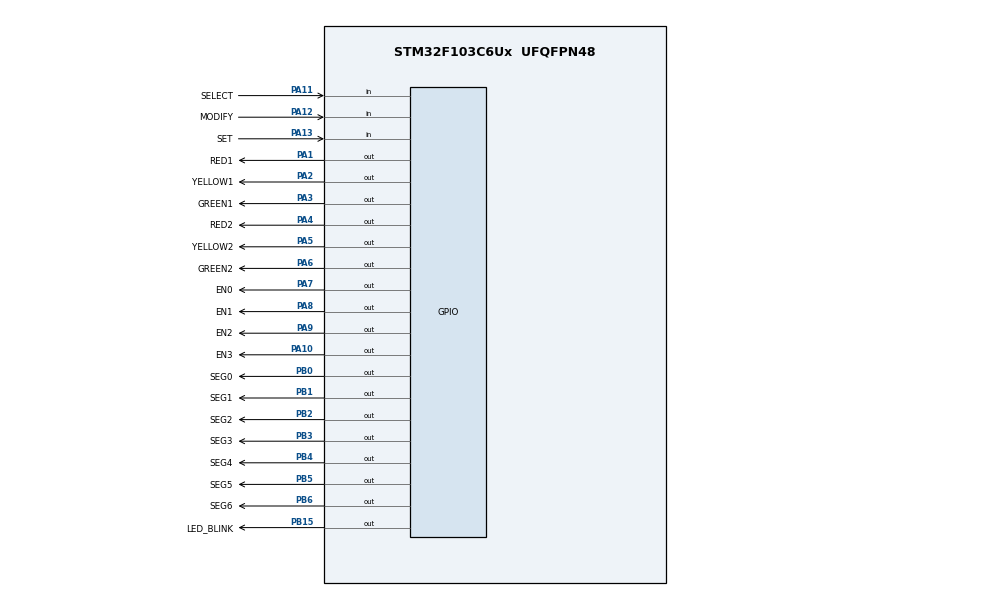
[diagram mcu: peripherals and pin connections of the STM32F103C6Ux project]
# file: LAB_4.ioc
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Mcu.Family=STM32F1
Mcu.Name=STM32F103C6Ux
Mcu.Package=UFQFPN48
NVIC.PriorityGroup=NVIC_PRIORITYGROUP_4
NVIC.TIM2_IRQn=true\:0\:0\:false\:false\:true\:true\:true\:true
PA1.GPIO_Label=RED1
PA1.Signal=GPIO_Output
PA10.GPIO_Label=EN3
PA10.Signal=GPIO_Output
PA11.GPIO_Label=SELECT
PA11.GPIO_PuPd=GPIO_PULLUP
PA11.Signal=GPIO_Input
PA12.GPIO_Label=MODIFY
PA12.GPIO_PuPd=GPIO_PULLUP
PA12.Signal=GPIO_Input
PA13.GPIO_Label=SET
PA13.GPIO_PuPd=GPIO_PULLUP
PA13.Signal=GPIO_Input
PA2.GPIO_Label=YELLOW1
PA2.Signal=GPIO_Output
PA3.GPIO_Label=GREEN1
PA3.Signal=GPIO_Output
PA4.GPIO_Label=RED2
PA4.Signal=GPIO_Output
PA5.GPIO_Label=YELLOW2
PA5.Signal=GPIO_Output
PA6.GPIO_Label=GREEN2
PA6.Signal=GPIO_Output
PA7.GPIO_Label=EN0
PA7.Signal=GPIO_Output
PA8.GPIO_Label=EN1
PA8.Signal=GPIO_Output
PA9.GPIO_Label=EN2
PA9.Signal=GPIO_Output
PB0.GPIO_Label=SEG0
PB0.Signal=GPIO_Output
PB1.GPIO_Label=SEG1
PB1.Signal=GPIO_Output
PB15.GPIO_Label=LED_BLINK
PB15.Signal=GPIO_Output
PB2.GPIO_Label=SEG2
PB2.Signal=GPIO_Output
PB3.GPIO_Label=SEG3
PB3.Signal=GPIO_Output
PB4.GPIO_Label=SEG4
PB4.Signal=GPIO_Output
PB5.GPIO_Label=SEG5
PB5.Signal=GPIO_Output
PB6.GPIO_Label=SEG6
PB6.Signal=GPIO_Output
ProjectManager.HeapSize=0x200
ProjectManager.StackSize=0x400
ProjectManager.TargetToolchain=STM32CubeIDE
RCC.APB1Freq_Value=8000000
RCC.APB2Freq_Value=8000000
TIM2.Period=10
TIM2.Prescaler=7999
VP_SYS_VS_ND.Mode=No_Debug
VP_TIM2_VS_ClockSourceINT.Mode=Internal
board=custom

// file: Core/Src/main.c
/* USER CODE BEGIN Header */
/**
 ******************************************************************************
 * @file           : main.c
 * @brief          : Main program body
 ******************************************************************************
 * @attention
 *
 * <h2><center>&copy; Copyright (c) 2022 STMicroelectronics.
 * All rights reserved.</center></h2>
 *
 * This software component is licensed by ST under BSD 3-Clause license,
 * the "License"; You may not use this file except in compliance with the
 * License. You may obtain a copy of the License at:
 *                        opensource.org/licenses/BSD-3-Clause
 *
 ******************************************************************************
 */
/* USER CODE END Header */
#include "main.h"

/* USER CODE BEGIN Includes */
#include "global.h"
#include "timer_interrupt.h"
#include "output_display.h"
#include "input_reading.h"
#include "fsm_display.h"
#include "fsm_automatic.h"
#include "fsm_manual.h"
#include "scheduler.h"
/* USER CODE END Includes */

TIM_HandleTypeDef htim2;

void SystemClock_Config(void);
static void MX_GPIO_Init(void);
static void MX_TIM2_Init(void);

int main(void)
{

  /* MCU Configuration--------------------------------------------------------*/

  /* Reset of all peripherals, Initializes the Flash interface and the Systick. */
  HAL_Init();

  /* Configure the system clock */
  SystemClock_Config();

  /* Initialize all configured peripherals */
  MX_GPIO_Init();
  MX_TIM2_Init();
  /* USER CODE BEGIN 2 */
	SCH_Init();
	HAL_TIM_Base_Start_IT(&htim2);
  /* USER CODE END 2 */
	SCH_Add_Task(fsm_display, 0, 1);        // Run immediately, every 10ms
	SCH_Add_Task(fsm_manual, 5, 1);         // Delay 50ms, every 10ms
	SCH_Add_Task(fsm_auto_road1, 10, 1);    // Delay 100ms, every 10ms
	SCH_Add_Task(fsm_auto_road2, 15, 1);    // Delay 150ms, every 10ms
	SCH_Add_Task(toggle_led_blink, 0, 100);
  /* Infinite loop */
  /* USER CODE BEGIN WHILE */
	while (1) {
//	fsm_display();
//	fsm_manual();
		SCH_Dispatch_Tasks();
    /* USER CODE END WHILE */

	}
}

void SystemClock_Config(void)
{
  RCC_OscInitTypeDef RCC_OscInitStruct = {0};
  RCC_ClkInitTypeDef RCC_ClkInitStruct = {0};

  /** Initializes the RCC Oscillators according to the specified parameters
  * in the RCC_OscInitTypeDef structure.
  */
  RCC_OscInitStruct.OscillatorType = RCC_OSCILLATORTYPE_HSI;
  RCC_OscInitStruct.HSIState = RCC_HSI_ON;
  RCC_OscInitStruct.HSICalibrationValue = RCC_HSICALIBRATION_DEFAULT;
  RCC_OscInitStruct.PLL.PLLState = RCC_PLL_NONE;
  if (HAL_RCC_OscConfig(&RCC_OscInitStruct) != HAL_OK)
  {
    Error_Handler();
  }
  /** Initializes the CPU, AHB and APB buses clocks
  */
  RCC_ClkInitStruct.ClockType = RCC_CLOCKTYPE_HCLK|RCC_CLOCKTYPE_SYSCLK
                              |RCC_CLOCKTYPE_PCLK1|RCC_CLOCKTYPE_PCLK2;
  RCC_ClkInitStruct.SYSCLKSource = RCC_SYSCLKSOURCE_HSI;
  RCC_ClkInitStruct.AHBCLKDivider = RCC_SYSCLK_DIV1;
  RCC_ClkInitStruct.APB1CLKDivider = RCC_HCLK_DIV1;
  RCC_ClkInitStruct.APB2CLKDivider = RCC_HCLK_DIV1;

  if (HAL_RCC_ClockConfig(&RCC_ClkInitStruct, FLASH_LATENCY_0) != HAL_OK)
  {
    Error_Handler();
  }
}

static void MX_TIM2_Init(void)
{

  TIM_ClockConfigTypeDef sClockSourceConfig = {0};
  TIM_MasterConfigTypeDef sMasterConfig = {0};

  htim2.Instance = TIM2;
  htim2.Init.Prescaler = 7999;
  htim2.Init.CounterMode = TIM_COUNTERMODE_UP;
  htim2.Init.Period = 10;
  htim2.Init.ClockDivision = TIM_CLOCKDIVISION_DIV1;
  htim2.Init.AutoReloadPreload = TIM_AUTORELOAD_PRELOAD_DISABLE;
  if (HAL_TIM_Base_Init(&htim2) != HAL_OK)
  {
    Error_Handler();
  }
  sClockSourceConfig.ClockSource = TIM_CLOCKSOURCE_INTERNAL;
  if (HAL_TIM_ConfigClockSource(&htim2, &sClockSourceConfig) != HAL_OK)
  {
    Error_Handler();
  }
  sMasterConfig.MasterOutputTrigger = TIM_TRGO_RESET;
  sMasterConfig.MasterSlaveMode = TIM_MASTERSLAVEMODE_DISABLE;
  if (HAL_TIMEx_MasterConfigSynchronization(&htim2, &sMasterConfig) != HAL_OK)
  {
    Error_Handler();
  }

}

static void MX_GPIO_Init(void)
{
  GPIO_InitTypeDef GPIO_InitStruct = {0};

  /* GPIO Ports Clock Enable */
  __HAL_RCC_GPIOA_CLK_ENABLE();
  __HAL_RCC_GPIOB_CLK_ENABLE();

  /*Configure GPIO pin Output Level */
  HAL_GPIO_WritePin(GPIOA, RED1_Pin|YELLOW1_Pin|GREEN1_Pin|RED2_Pin
                          |YELLOW2_Pin|GREEN2_Pin|EN0_Pin|EN1_Pin
                          |EN2_Pin|EN3_Pin, GPIO_PIN_RESET);

  /*Configure GPIO pin Output Level */
  HAL_GPIO_WritePin(GPIOB, SEG0_Pin|SEG1_Pin|SEG2_Pin|LED_BLINK_Pin
                          |SEG3_Pin|SEG4_Pin|SEG5_Pin|SEG6_Pin, GPIO_PIN_RESET);

  /*Configure GPIO pins : RED1_Pin YELLOW1_Pin GREEN1_Pin RED2_Pin
                           YELLOW2_Pin GREEN2_Pin EN0_Pin EN1_Pin
                           EN2_Pin EN3_Pin */
  GPIO_InitStruct.Pin = RED1_Pin|YELLOW1_Pin|GREEN1_Pin|RED2_Pin
                          |YELLOW2_Pin|GREEN2_Pin|EN0_Pin|EN1_Pin
                          |EN2_Pin|EN3_Pin;
  GPIO_InitStruct.Mode = GPIO_MODE_OUTPUT_PP;
  GPIO_InitStruct.Pull = GPIO_NOPULL;
  GPIO_InitStruct.Speed = GPIO_SPEED_FREQ_LOW;
  HAL_GPIO_Init(GPIOA, &GPIO_InitStruct);

  /*Configure GPIO pins : SEG0_Pin SEG1_Pin SEG2_Pin LED_BLINK_Pin
                           SEG3_Pin SEG4_Pin SEG5_Pin SEG6_Pin */
  GPIO_InitStruct.Pin = SEG0_Pin|SEG1_Pin|SEG2_Pin|LED_BLINK_Pin
                          |SEG3_Pin|SEG4_Pin|SEG5_Pin|SEG6_Pin;
  GPIO_InitStruct.Mode = GPIO_MODE_OUTPUT_PP;
  GPIO_InitStruct.Pull = GPIO_NOPULL;
  GPIO_InitStruct.Speed = GPIO_SPEED_FREQ_LOW;
  HAL_GPIO_Init(GPIOB, &GPIO_InitStruct);

  /*Configure GPIO pins : SELECT_Pin MODIFY_Pin SET_Pin */
  GPIO_InitStruct.Pin = SELECT_Pin|MODIFY_Pin|SET_Pin;
  GPIO_InitStruct.Mode = GPIO_MODE_INPUT;
  GPIO_InitStruct.Pull = GPIO_PULLUP;
  HAL_GPIO_Init(GPIOA, &GPIO_InitStruct);

}

/* USER CODE BEGIN 4 */
void HAL_TIM_PeriodElapsedCallback(TIM_HandleTypeDef *htim) {
	timerRun();
	SCH_Update();
	getKeyInput();
}
/* USER CODE END 4 */

void Error_Handler(void)
{
	__disable_irq();
	while (1) {
	}
}

/************************ (C) COPYRIGHT STMicroelectronics *****END OF FILE****/
